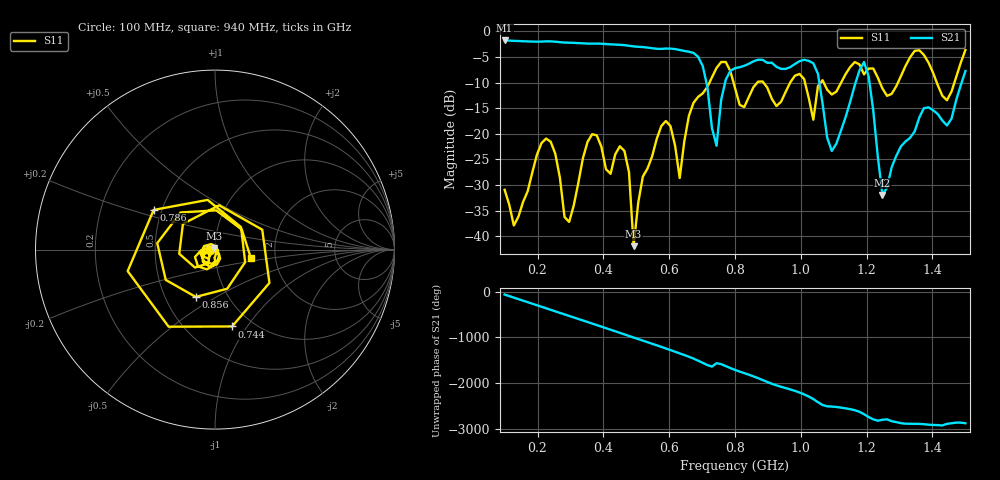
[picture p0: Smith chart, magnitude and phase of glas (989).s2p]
! NanoVNA-App
! Date: 2025-09-25 16:03:10
! Start: 100MHz Stop: 1,5GHz Points: 101
! S-Parameter data: F S11 S21 S12 S22
# Hz S RI R 50
!  Frequency  S11_Real  S11_Imag  S21_Real  S21_Imag  S12_Real  S12_Imag  S22_Real  S22_Imag
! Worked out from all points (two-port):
!   101 points, 100 MHz to 1.5 GHz, reference 50 ohm
!   highest |S21| = -1.80 dB at 100 MHz (marker M1); lowest = -31.9 dB at 1.248 GHz (marker M2)
!   |S21| within 3 dB of the highest: start of sweep to 684.6 MHz
!   lowest |S11| = -41.9 dB at 492 MHz (marker M3), VSWR 1.02, Z = 49.5 + j0.622 ohm
!   |S11| at or under -10 dB: start of sweep to 722.5 MHz; 795.4 MHz to 867.9 MHz (72.43 MHz wide, 8.71 % of centre); 886.4 MHz to 967.8 MHz (81.38 MHz wide, 8.78 % of centre) (the widest 3 of 7)
!   S12 and S22 are empty: the file has one direction only
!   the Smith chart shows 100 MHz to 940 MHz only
!   S11 on the Smith chart (normalised r, x): 100 MHz: 0.94, -0.01; 744 MHz: 0.81, -0.85; 786 MHz: 0.45, +0.24; 856 MHz: 0.71, -0.41; 940 MHz: 1.49, -0.15
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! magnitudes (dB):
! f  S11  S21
! 100 MHz  -30.9  -1.8
! 128 MHz  -37.9  -1.9
! 226 MHz  -20.9  -2.0
! 296 MHz  -37.2  -2.2
! 338 MHz  -24.7  -2.4
! 464 MHz  -23.3  -2.7
! 492 MHz  -41.9  -3.0
! 576 MHz  -18.5  -3.4
! 632 MHz  -28.6  -3.7
! 702 MHz  -12.1  -6.8
! 744 MHz  -7.2  -22.3
! 786 MHz  -7.8  -7.7
! 800 MHz  -11.1  -7.2
! 856 MHz  -10.9  -5.9
! 940 MHz  -13.8  -7.3
! 1.038 GHz  -17.2  -6.3
! 1.094 GHz  -12.3  -23.4
! 1.192 GHz  -8.4  -6.0
! 1.248 GHz  -11.2  -31.9
! 1.276 GHz  -12.2  -26.5
! 1.444 GHz  -13.5  -18.4
! 1.5 GHz  -3.7  -7.8
